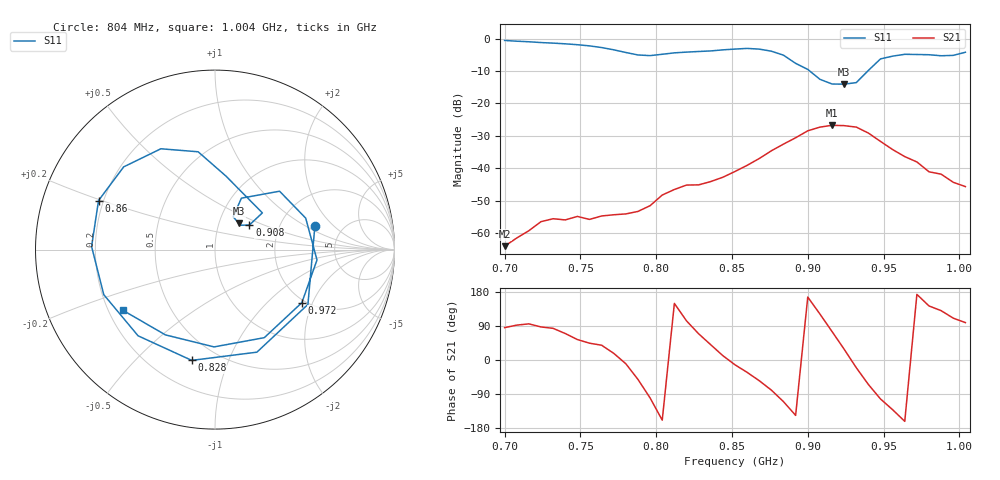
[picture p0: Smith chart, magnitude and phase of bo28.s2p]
# Hz S RI R 50
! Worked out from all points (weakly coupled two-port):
!   39 points, 700 MHz to 1.004 GHz, reference 50 ohm
!   highest |S21| = -26.77 dB at 916 MHz (marker M1); lowest = -64.1 dB at 700 MHz (marker M2)
!   lowest |S11| = -14.1 dB at 924 MHz (marker M3), VSWR 1.49, Z = 62.1 + j18.9 ohm
!   |S11| at or under -10 dB: 901.2 MHz to 939.6 MHz (38.4 MHz wide, 4.17 % of centre)
!   S12 and S22 are empty: the file has one direction only
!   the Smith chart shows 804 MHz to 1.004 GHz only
!   S11 on the Smith chart (normalised r, x): 804 MHz: 3.15, +1.22; 828 MHz: 0.36, -0.74; 860 MHz: 0.18, +0.20; 908 MHz: 1.40, +0.41; 972 MHz: 1.92, -1.67; 1.004 GHz: 0.26, -0.28
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7e8  0.7694 0.529  5.07e-05 0.000625  0 0  0 0
7.24e8  0.8268 -0.2603  7.2e-05 0.0015  0 0  0 0
7.4e8  0.4403 -0.7017  0.000548 0.0015  0 0  0 0
7.56e8  -0.1979 -0.7445  0.00116 0.00113  0 0  0 0
7.72e8  -0.6441 -0.1837  0.00182 0.000579  0 0  0 0
7.8e8  -0.5635 0.2299  0.00194 -0.000342  0 0  0 0
7.88e8  -0.2108 0.5164  0.00134 -0.00168  0 0  0 0
8.04e8  0.5565 0.1308  -0.00359 -0.0014  0 0  0 0
8.2e8  0.2335 -0.5715  -0.00127 0.00534  0 0  0 0
8.28e8  -0.1297 -0.6172  0.00196 0.00517  0 0  0 0
8.52e8  -0.6875 0.0169  0.00868 -0.00196  0 0  0 0
8.6e8  -0.649 0.2729  0.00932 -0.00596  0 0  0 0
8.84e8  -0.0939 0.545  -0.00803 -0.0221  0 0  0 0
9e8  0.264 0.2046  -0.0366 0.00912  0 0  0 0
9.08e8  0.1914 0.1368  -0.0225 0.0367  0 0  0 0
9.16e8  0.1452 0.1359  0.0117 0.0443  0 0  0 0
9.24e8  0.1324 0.1466  0.0398 0.0216  0 0  0 0
9.4e8  0.1473 0.2866  0.0149 -0.0314  0 0  0 0
9.56e8  0.5054 0.1752  -0.0128 -0.0146  0 0  0 0
9.72e8  0.4839 -0.2957  -0.0124 0.00149  0 0  0 0
9.88e8  -0.00513 -0.5421  -0.00521 0.00618  0 0  0 0
1.004e9  -0.512 -0.3388  -0.000784 0.00514  0 0  0 0
